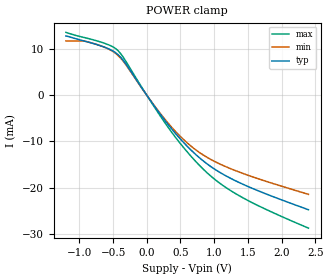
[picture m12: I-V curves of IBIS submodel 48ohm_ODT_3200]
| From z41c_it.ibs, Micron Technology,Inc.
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| SUBMODEL 48ohm_ODT_3200
[Submodel]   48ohm_ODT_3200
Submodel_type  Dynamic_clamp
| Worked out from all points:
|   POWER clamp passes 1 mA (typ) near -0.05 V on its own axis
[POWER Clamp]
|   Voltage   I(typ)   I(min)   I(max)
-1.2V     12.86mA    11.79mA    13.65mA
-820mV    11.34mA    11.36mA    12.13mA
-575mV    10.13mA    10.07mA    10.99mA
-420mV    8.716mA    8.527mA    9.583mA
-315mV    6.896mA    6.706mA    7.468mA
85mV      -1.78mA    -1.71mA    -1.934mA
360mV     -7.127mA   -6.785mA   -7.828mA
635mV     -11.56mA   -10.77mA   -12.87mA
850mV     -14.37mA   -13.06mA   -16.19mA
1.105V    -16.9mA    -15.04mA   -19.3mA
1.425V    -19.28mA   -16.94mA   -22.22mA
2.4V      -24.82mA   -21.49mA   -28.81mA
